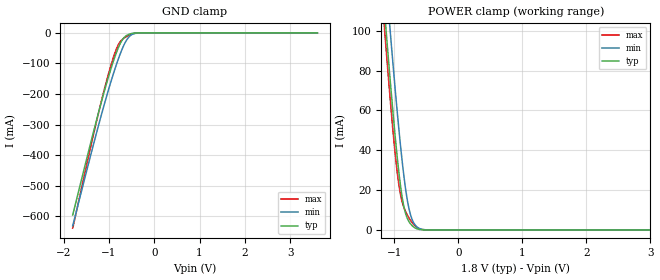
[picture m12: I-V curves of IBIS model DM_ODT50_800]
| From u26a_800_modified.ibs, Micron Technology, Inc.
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|   MODEL DM_ODT50_800 (DM Input model with 50 Ohm ODT Submodel)
[Model]   DM_ODT50_800
Model_type   Input
Vinl = 700.000mV
Vinh = 1.100V
|   typ   min   max
C_comp   3.150pF   2.760pF   3.510pF
| Note: C_comp increases when the ODT circuit is enabled.
[Model Spec]
| Input threshold voltage corners
Vinl   0.700V   0.650V   0.750V
Vinh   1.100V   1.050V   1.150V
[Receiver Thresholds]
Vth   =  0.900V
Vth_min  =  0.882V
Vth_max  =  0.918V
Vinh_ac  =  0.200V
Vinh_dc  =  0.125V
Vinl_ac  = -0.200V
Vinl_dc  = -0.125V
Tslew_ac =  5.000ns |Not specified, so set to high value
Threshold_sensitivity = 0.50
Reference_supply Pullup_ref
[Voltage Range]   1.800V   1.700V   1.900V
[Pullup Reference]   1.800V   1.700V   1.900V
| Junction Temperature (Ambient temp is 25C typ, 85C min, 0C max)
[Temperature Range]   40.0   100.0   0.0
[Add Submodel]
| Submodel Name   Mode
50ohm_ODT_800   Non-Driving
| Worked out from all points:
|   GND clamp passes 1 mA (typ) near -0.46 V on its own axis
|   POWER clamp passes 1 mA (typ) near -0.67 V on its own axis
[GND Clamp]
|   Voltage   I(typ)   I(min)   I(max)
-1.8V     -595.2mA   -630.3mA   -638.4mA
-1.34V    -323.5mA   -364.1mA   -331.7mA
-1.08V    -179.5mA   -222mA     -172.5mA
-955mV    -117.2mA   -159.1mA   -105.8mA
-860mV    -74.79mA   -114.7mA   -62.29mA
-780mV    -44.2mA    -80.29mA   -35.37mA
-695mV    -20.73mA   -48.19mA   -20.33mA
-620mV    -9.519mA   -25.92mA   -12.73mA
-545mV    -3.898mA   -11.34mA   -6.772mA
-460mV    -953.8uA   -3.4mA     -2.082mA
-355mV    -81.45uA   -577.5uA   -170.1uA
3.6V      0A         0A         0A
[POWER Clamp]
|   Voltage   I(typ)   I(min)   I(max)
-1.8V     395.7mA    417.1mA    394.8mA
-1.15V    110.2mA    135.2mA    101.2mA
-1.135V   104.1mA    129.2mA    94.99mA
-1.115V   96.14mA    121.2mA    86.86mA
-1.06V    74.74mA    99.53mA    65.25mA
-950mV    36.17mA    58.91mA    28.57mA
-910mV    24.73mA    45.53mA    19.51mA
-865mV    14.67mA    31.91mA    13.06mA
-770mV    4.326mA    11.03mA    6.169mA
-670mV    985.5uA    2.416mA    1.978mA
-365mV    0A         0A         0A
3.6V      0A         0A         0A
